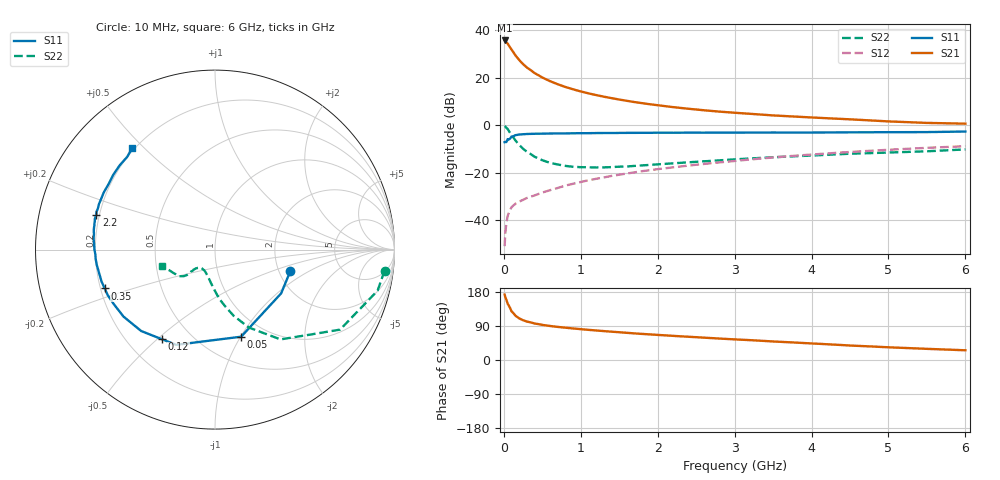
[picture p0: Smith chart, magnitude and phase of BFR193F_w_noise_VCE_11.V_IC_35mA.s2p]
! Infineon Technologies  Discrete & RF Semiconductors
! BFR193F
! VCE =  11. V,  IC =  35 mA
! Common Emitter S-Parameters:  Jan 2017
# GHz  S  MA  R  50
!  f  S11  S21  S12  S22
! GHz  MAG  ANG  MAG  ANG  MAG  ANG  MAG  ANG
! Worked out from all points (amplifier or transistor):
!   77 points, 10 MHz to 6 GHz, reference 50 ohm
!   highest |S21| = 35.7 dB at 10 MHz (marker M1)
!   |S21| within 3 dB of that: start of sweep to 82.35 MHz
!   unconditionally stable (mu >= 1): 1.095 GHz to 2.653 GHz
!   at 130 MHz: K = 0.38, MSG = 32.1 dB, |S12| = -33.7 dB
!   at 2.2 GHz: K = 1.02, MAG = 11.8 dB, |S12| = -17.8 dB
!   at 6 GHz: K = 0.84, MSG = 4.8 dB, |S12| = -8.9 dB
!   lowest NFmin = 1.26 dB at 450 MHz
!   S11 on the Smith chart (normalised r, x): 10 MHz: 2.30, -0.68; 50 MHz: 0.77, -1.01; 120 MHz: 0.34, -0.52; 350 MHz: 0.22, -0.16; 2.2 GHz: 0.19, +0.14; 6 GHz: 0.19, +0.46
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0.01  0.4364 -16.0  60.82 172.6  0.0028 85.0  0.9519 -7.1
0.02  0.4419 -33.5  58.94 165.7  0.0055 76.1  0.9346 -14.1
0.05  0.5067 -73.3  52.23 148.3  0.0122 62.6  0.8276 -32.6
0.1  0.5731 -112.2  39.04 128.3  0.0186 54.2  0.6193 -53.9
0.12  0.5801 -120.5  35.12 124.5  0.0199 52.2  0.5584 -58.1
0.15  0.6123 -132.2  29.62 117.0  0.0219 49.6  0.4744 -66.4
0.2  0.6318 -143.8  23.47 109.8  0.0244 49.0  0.3828 -74.3
0.25  0.6405 -151.7  19.26 104.9  0.0265 49.8  0.3156 -80.4
0.3  0.6493 -157.0  16.34 101.4  0.0291 51.7  0.274 -85.1
0.35  0.6516 -160.6  14.38 99.2  0.031 53.6  0.244 -88.3
0.4  0.6565 -164.2  12.46 96.3  0.0329 55.2  0.2149 -92.3
0.5  0.6592 -168.9  10.06 92.7  0.0378 58.4  0.1818 -98.0
0.6  0.664 -172.6  8.44 89.8  0.0424 60.9  0.1601 -103.2
0.8  0.6668 -177.7  6.36 85.3  0.053 65.2  0.1379 -111.9
1.1  0.6754 176.7  4.666 79.6  0.0685 68.5  0.1289 -121.3
1.5  0.6833 171.3  3.455 73.3  0.0899 70.6  0.1327 -130.0
2.1  0.69 164.8  2.505 65.0  0.1231 71.8  0.1524 -135.8
2.2  0.689 163.8  2.391 63.7  0.1285 71.8  0.1562 -136.0
3.1  0.6944 156.2  1.774 53.4  0.1814 71.3  0.1933 -137.1
4.1  0.6975 147.4  1.421 42.7  0.2455 68.2  0.2321 -140.3
5.1  0.7089 137.5  1.178 32.7  0.3074 63.2  0.2669 -151.2
6  0.7314 129.0  1.072 25.6  0.3586 58.1  0.307 -162.5
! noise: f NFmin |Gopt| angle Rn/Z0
0.45  1.26  0.42  178  0.06
0.9  1.35  0.44  178  0.07
1.9  1.9  0.58  -166  0.08
2.4  2.2  0.61  -157  0.12
